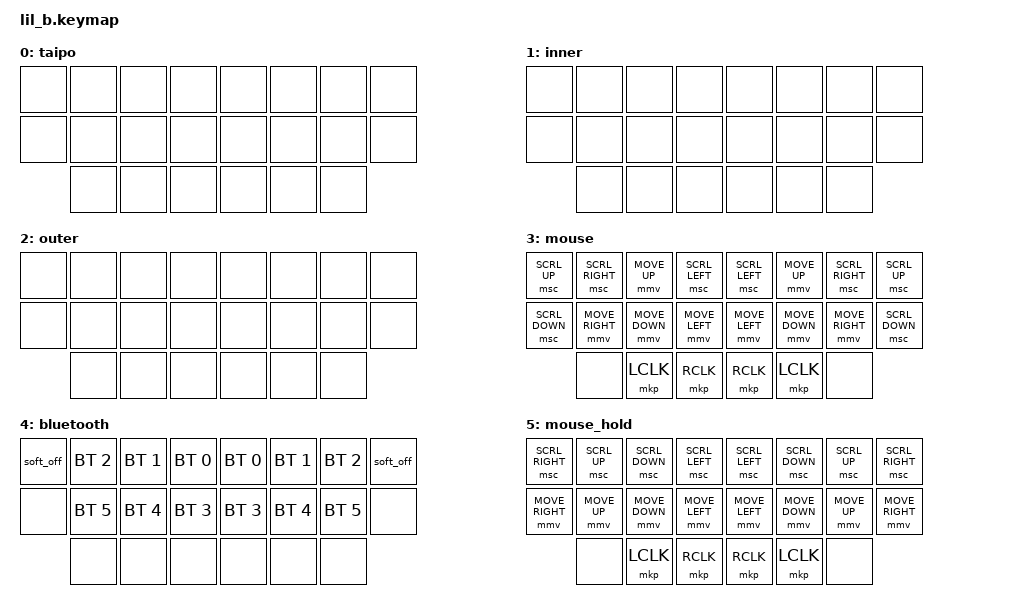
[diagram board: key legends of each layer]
/*
 * lil-B - 22-key taipo keyboard
 */

#include <behaviors.dtsi>
#include <dt-bindings/zmk/keys.h>
#include <dt-bindings/zmk/bt.h>
#include <zmk-helpers/helper.h>

/*                              22 KEY MATRIX / LAYOUT MAPPING (lil-B)

  ╭─────────────────╮ ╭─────────────────╮ ╭─────────────────╮ ╭─────────────────╮
  │  0   1   2   3  │ │  4   5   6   7  │ │ LT4 LT3 LT2 LT1 │ │ RT1 RT2 RT3 RT4 │
  │  8   9  10  11  │ │ 12  13  14  15  │ │ LM4 LM3 LM2 LM1 │ │ RM1 RM2 RM3 RM4 │
  │ 16  17  18 ╭────╯ ╰────╮ 19  20  21 │ │ LH2 LH1 LH0 ╭───╯ ╰───╮ RH0 RH1 RH2 │
  ╰────────────╯           ╰────────────╯ ╰─────────────╯         ╰─────────────╯ */

// Left hand top row (pinky to index)
#define LT4  0
#define LT3  1
#define LT2  2
#define LT1  3

// Right hand top row (index to pinky)
#define RT1  4
#define RT2  5
#define RT3  6
#define RT4  7

// Left hand middle row (pinky to index)
#define LM4  8
#define LM3  9
#define LM2 10
#define LM1 11

// Right hand middle row (index to pinky)
#define RM1 12
#define RM2 13
#define RM3 14
#define RM4 15

// Bottom row, left to right. LH0 and RH0 are the inner thumbs.
// LH2 (P1.10) and RH2 (P1.11) are the extra outer 1u keys.
#define LH2 16
#define LH1 17
#define LH0 18
#define RH0 19
#define RH1 20
#define RH2 21

#undef TAIPO
#undef TAIPO_INNER
#undef TAIPO_OUTER
#define TAIPO 0
#define TAIPO_INNER 1
#define TAIPO_OUTER 2
#define TAIPO_THUMB_ORDER_OIIO 1
#define TAIPO_MODS_SCAG 1
#include <zmk-taipo/taipo.dtsi>
#include <zmk-taipo/features/virtual_thumbs.dtsi>

#include "mouse.dtsi"

#define MOUSE 3
#define BLUETOOTH 4
#define MOUSE_HOLD 5

ZMK_LAYER(taipo,
    // ╭─────────────┬─────────────┬─────────────┬─────────────╮   ╭─────────────┬─────────────┬─────────────┬─────────────╮
         &none         &none         &none         &none             &none         &none         &none         &none
    // ├─────────────┼─────────────┼─────────────┼─────────────┤   ├─────────────┼─────────────┼─────────────┼─────────────┤
         &none         &none         &none         &none             &none         &none         &none         &none
    // ├─────────────┼─────────────┼─────────────┼─────────────╯   ╰─────────────┼─────────────┼─────────────┼─────────────┤
         &none         &none         &none                                         &none         &none         &none
    // ╰─────────────┴─────────────┴─────────────╯                               ╰─────────────┴─────────────┴─────────────╯
)
ZMK_COMBO(tog_mouse, &tog MOUSE, LT1 LM2 LT3, TAIPO MOUSE, COMBO_TERM_FAST)
ZMK_COMBO(tog_bluetooth, &tog BLUETOOTH, LT1 LM2 LM3 LT4, TAIPO BLUETOOTH, COMBO_TERM_FAST)
ZMK_COMBO(mouse_left_thumbs, &mo MOUSE_HOLD, LH0 LH1, TAIPO MOUSE_HOLD, COMBO_TERM_FAST)
ZMK_COMBO(mouse_right_thumbs, &mo MOUSE_HOLD, RH0 RH1, TAIPO MOUSE_HOLD, COMBO_TERM_FAST)
ZMK_COMBO(mouse_inner_thumbs, &mo MOUSE_HOLD, LH1 RH1, TAIPO MOUSE_HOLD, COMBO_TERM_FAST)
ZMK_COMBO(mouse_outer_thumbs, &mo MOUSE_HOLD, LH0 RH0, TAIPO MOUSE_HOLD, COMBO_TERM_FAST)

ZMK_LAYER(inner,
    // ╭─────────────┬─────────────┬─────────────┬─────────────╮   ╭─────────────┬─────────────┬─────────────┬─────────────╮
         &none         &none         &none         &none             &none         &none         &none         &none
    // ├─────────────┼─────────────┼─────────────┼─────────────┤   ├─────────────┼─────────────┼─────────────┼─────────────┤
         &none         &none         &none         &none             &none         &none         &none         &none
    // ├─────────────┼─────────────┼─────────────┼─────────────╯   ╰─────────────┼─────────────┼─────────────┼─────────────┤
         &none         &none         &none                                         &none         &none         &none
    // ╰─────────────┴─────────────┴─────────────╯                               ╰─────────────┴─────────────┴─────────────╯
)

ZMK_LAYER(outer,
    // ╭─────────────┬─────────────┬─────────────┬─────────────╮   ╭─────────────┬─────────────┬─────────────┬─────────────╮
         &none         &none         &none         &none             &none         &none         &none         &none
    // ├─────────────┼─────────────┼─────────────┼─────────────┤   ├─────────────┼─────────────┼─────────────┼─────────────┤
         &none         &none         &none         &none             &none         &none         &none         &none
    // ├─────────────┼─────────────┼─────────────┼─────────────╯   ╰─────────────┼─────────────┼─────────────┼─────────────┤
         &none         &none         &none                                         &none         &none         &none
    // ╰─────────────┴─────────────┴─────────────╯                               ╰─────────────┴─────────────┴─────────────╯
)

// Toggled by I+T+S. Same letter on either hand: N up, E left, T down, O right.
// Pinky scrolls up and down. Upper ring scrolls right, upper index scrolls left.
ZMK_LAYER(mouse,
    // ╭─────────────┬─────────────┬─────────────┬─────────────╮   ╭─────────────┬─────────────┬─────────────┬─────────────╮
         &msc SCRL_UP  &msc SCRL_RIGHT &mmv MOVE_UP &msc SCRL_LEFT   &msc SCRL_LEFT &mmv MOVE_UP &msc SCRL_RIGHT &msc SCRL_UP
    // ├─────────────┼─────────────┼─────────────┼─────────────┤   ├─────────────┼─────────────┼─────────────┼─────────────┤
         &msc SCRL_DOWN &mmv MOVE_RIGHT &mmv MOVE_DOWN &mmv MOVE_LEFT   &mmv MOVE_LEFT &mmv MOVE_DOWN &mmv MOVE_RIGHT &msc SCRL_DOWN
    // ├─────────────┼─────────────┼─────────────┼─────────────╯   ╰─────────────┼─────────────┼─────────────┼─────────────┤
         &none         &mkp LCLK     &mkp RCLK                                     &mkp RCLK     &mkp LCLK     &none
    // ╰─────────────┴─────────────┴─────────────╯                               ╰─────────────┴─────────────┴─────────────╯
)
ZMK_LAYER(bluetooth,
    // ╭─────────────┬─────────────┬─────────────┬─────────────╮   ╭─────────────┬─────────────┬─────────────┬─────────────╮
         &soft_off     &bt BT_SEL 2  &bt BT_SEL 1  &bt BT_SEL 0      &bt BT_SEL 0  &bt BT_SEL 1  &bt BT_SEL 2  &soft_off
    // ├─────────────┼─────────────┼─────────────┼─────────────┤   ├─────────────┼─────────────┼─────────────┼─────────────┤
         &none         &bt BT_SEL 5  &bt BT_SEL 4  &bt BT_SEL 3      &bt BT_SEL 3  &bt BT_SEL 4  &bt BT_SEL 5  &none
    // ├─────────────┼─────────────┼─────────────┼─────────────╯   ╰─────────────┼─────────────┼─────────────┼─────────────┤
         &none         &none         &none                                         &none         &none         &none
    // ╰─────────────┴─────────────┴─────────────╯                               ╰─────────────┴─────────────┴─────────────╯
)
//&soft_off {
//    hold-time-ms = <3000>;
//};
// Thumb pairs hold this layer. Outside in on either hand: right, up, down, left.
ZMK_LAYER(mouse_hold,
    // ╭─────────────┬─────────────┬─────────────┬─────────────╮   ╭─────────────┬─────────────┬─────────────┬─────────────╮
         &msc SCRL_RIGHT &msc SCRL_UP &msc SCRL_DOWN &msc SCRL_LEFT  &msc SCRL_LEFT &msc SCRL_DOWN &msc SCRL_UP &msc SCRL_RIGHT
    // ├─────────────┼─────────────┼─────────────┼─────────────┤   ├─────────────┼─────────────┼─────────────┼─────────────┤
         &mmv MOVE_RIGHT &mmv MOVE_UP &mmv MOVE_DOWN &mmv MOVE_LEFT  &mmv MOVE_LEFT &mmv MOVE_DOWN &mmv MOVE_UP &mmv MOVE_RIGHT
    // ├─────────────┼─────────────┼─────────────┼─────────────╯   ╰─────────────┼─────────────┼─────────────┼─────────────┤
         &none         &mkp LCLK     &mkp RCLK                                     &mkp RCLK     &mkp LCLK     &none
    // ╰─────────────┴─────────────┴─────────────╯                               ╰─────────────┴─────────────┴─────────────╯
)
ZMK_COMBO(lclear_bt, &bt BT_CLR, LT4 LM4, BLUETOOTH, COMBO_TERM_FAST)
ZMK_COMBO(rclear_bt, &bt BT_CLR, RT4 RM4, BLUETOOTH, COMBO_TERM_FAST)

/* vim: set tw=180 ft=c: */
